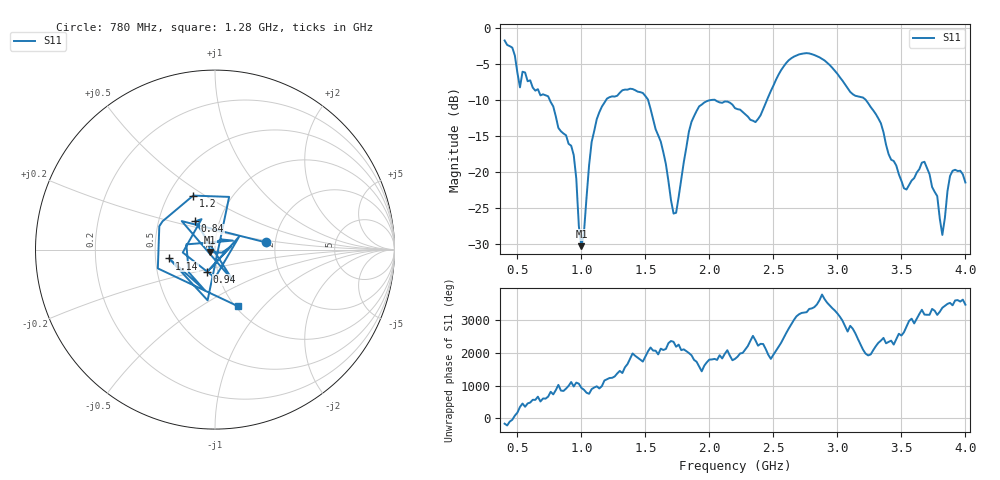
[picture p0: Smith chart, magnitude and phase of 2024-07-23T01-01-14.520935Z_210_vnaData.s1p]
!Created with skrf (http://scikit-rf.org).
# Hz S RI R 50.0
!freq ReS11 ImS11
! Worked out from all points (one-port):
!   181 points, 400 MHz to 4 GHz, reference 50 ohm
!   lowest |S11| = -30.3 dB at 1 GHz (marker M1), VSWR 1.06, Z = 47.3 - j1.29 ohm
!   |S11| at or under -10 dB: 753.7 MHz to 1.192 GHz (438.3 MHz wide, 45 % of centre); 1.522 GHz to 2.002 GHz (480.6 MHz wide, 27.3 % of centre); 3.224 GHz to end of sweep (the widest 3 of 4)
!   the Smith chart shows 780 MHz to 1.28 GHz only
!   S11 on the Smith chart (normalised r, x): 780 MHz: 1.78, +0.16; 840 MHz: 0.77, +0.25; 940 MHz: 0.89, -0.22; 1.14 GHz: 0.59, -0.06; 1.2 GHz: 0.66, +0.45; 1.28 GHz: 1.03, -0.73
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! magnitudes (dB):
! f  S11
! 400 MHz  -1.7
! 520 MHz  -8.2
! 780 MHz  -10.9
! 840 MHz  -14.3
! 860 MHz  -14.6
! 940 MHz  -17.6
! 1 GHz  -30.3
! 1.08 GHz  -15.8
! 1.14 GHz  -11.7
! 1.2 GHz  -9.8
! 1.28 GHz  -9.4
! 1.3 GHz  -9.0
! 1.52 GHz  -9.9
! 1.72 GHz  -25.8
! 1.76 GHz  -23.4
! 1.84 GHz  -14.4
! 1.92 GHz  -10.9
! 2.2 GHz  -11.1
! 2.36 GHz  -13.0
! 2.66 GHz  -3.9
! 3.1 GHz  -8.8
! 3.3 GHz  -11.9
! 3.56 GHz  -21.8
! 3.68 GHz  -18.6
! 3.78 GHz  -23.3
! 3.82 GHz  -28.7
! 3.88 GHz  -20.5
! 4 GHz  -21.4
